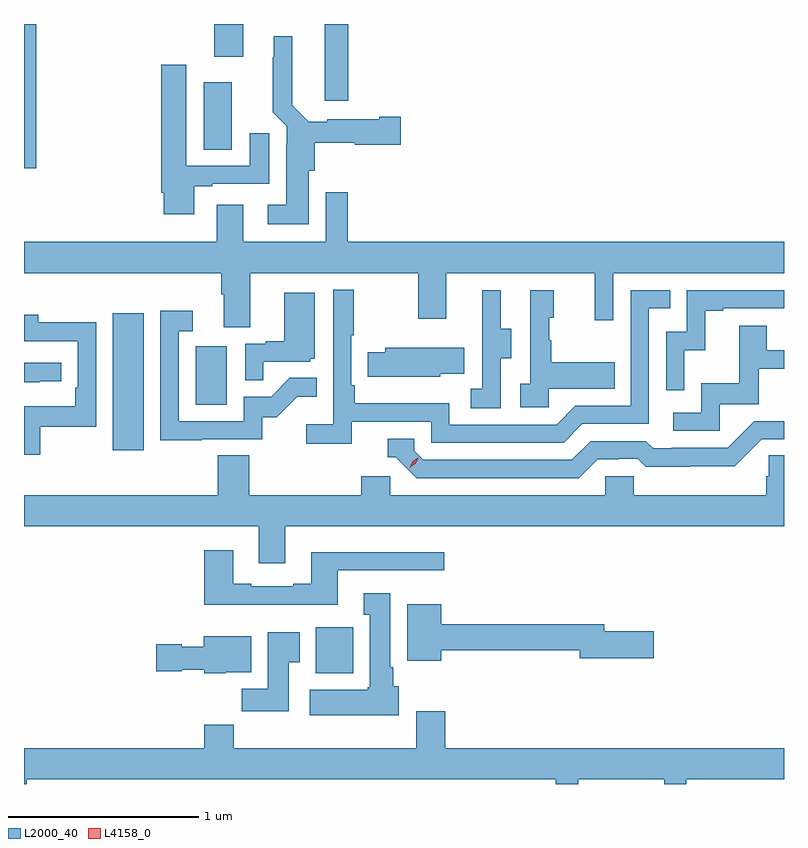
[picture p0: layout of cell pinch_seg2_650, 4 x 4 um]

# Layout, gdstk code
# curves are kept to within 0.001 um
import gdstk
lib = gdstk.Library(unit=1e-6, precision=1e-09)
def R(c, l, rs):  # rectangles x0, y0, x1, y1
    for r in rs: c.add(gdstk.rectangle(r[:2], r[2:], *l))
def P(c, l, *ps):  # polygons
    for p in ps: c.add(gdstk.Polygon(p, *l))
L2000_40 = (2000, 40)
L4158_0 = (4158, 0)

pinch_seg2_650 = lib.new_cell('pinch_seg2_650')
R(pinch_seg2_650, L2000_40, [(1042.853,588.254,1043.05,588.496), (1041.785,589.428,1041.946,590.149), (1042.22,589.668,1042.384,589.975), (1041.317,590.913,1041.382,591.671), (1042.262,591.01,1042.411,591.364), (1042.901,591.267,1043.024,591.671), (1042.319,591.498,1042.471,591.671)])
P(pinch_seg2_650, L2000_40, [(1042.816,590.898),(1042.847,590.898),(1042.847,591.047),(1043.058,591.047),(1043.058,591.035),(1043.299,591.035),(1043.299,591.182),(1043.186,591.182),(1043.186,591.169),(1042.914,591.169),(1042.914,591.157),(1042.815,591.157),(1042.728,591.244),(1042.729,591.607),(1042.631,591.607),(1042.631,591.497),(1042.627,591.497),(1042.627,591.206),(1042.701,591.132),(1042.701,591.038),(1042.697,591.038),(1042.697,590.719),(1042.599,590.719),(1042.599,590.618),(1042.816,590.618)],
  [(1042.213,590.817),(1042.309,590.817),(1042.309,590.829),(1042.609,590.829),(1042.609,591.097),(1042.505,591.097),(1042.505,590.925),(1042.171,590.925),(1042.171,591.457),(1042.04,591.457),(1042.04,590.782),(1042.052,590.782),(1042.052,590.67),(1042.213,590.67)],
  [(1042.507,590.36),(1043.392,590.36),(1043.392,590.121),(1043.539,590.121),(1043.539,590.36),(1044.32,590.36),(1044.32,590.112),(1044.417,590.112),(1044.417,590.36),(1045.317,590.36),(1045.317,590.524),(1043.021,590.524),(1043.021,590.785),(1042.905,590.785),(1042.905,590.524),(1042.471,590.524),(1042.471,590.719),(1042.331,590.719),(1042.331,590.524),(1041.317,590.524),(1041.317,590.36),(1042.355,590.36),(1042.355,590.248),(1042.367,590.248),(1042.367,590.074),(1042.507,590.074)],
  [(1043.042,589.578),(1043.46,589.578),(1043.46,589.467),(1044.157,589.467),(1044.256,589.566),(1044.606,589.566),(1044.606,590.175),(1044.719,590.175),(1044.719,590.271),(1044.51,590.271),(1044.51,589.662),(1044.219,589.662),(1044.12,589.563),(1043.556,589.563),(1043.556,589.675),(1043.057,589.675),(1043.057,589.771),(1043.04,589.771),(1043.04,590.032),(1043.053,590.032),(1043.053,590.272),(1042.944,590.272),(1042.944,589.564),(1042.803,589.564),(1042.803,589.462),(1043.042,589.462)],
  [(1044.792,589.955),(1044.902,589.955),(1044.902,590.163),(1044.997,590.163),(1044.997,590.175),(1045.317,590.175),(1045.317,590.271),(1044.804,590.271),(1044.804,590.052),(1044.696,590.052),(1044.696,589.743),(1044.792,589.743)],
  [(1044.078,589.751),(1044.425,589.751),(1044.425,589.891),(1044.091,589.891),(1044.091,590.006),(1044.081,590.006),(1044.081,590.124),(1044.106,590.124),(1044.106,590.269),(1043.982,590.269),(1043.982,589.778),(1043.93,589.778),(1043.93,589.653),(1044.078,589.653)],
  [(1043.826,589.912),(1043.881,589.912),(1043.881,590.067),(1043.827,590.067),(1043.827,590.269),(1043.728,590.269),(1043.728,590.055),(1043.73,590.055),(1043.73,589.751),(1043.667,589.751),(1043.667,589.648),(1043.826,589.648)],
  [(1042.577,589.893),(1042.824,589.893),(1042.824,589.908),(1042.846,589.908),(1042.846,590.257),(1042.688,590.257),(1042.688,590.002),(1042.589,590.002),(1042.589,589.989),(1042.482,589.989),(1042.482,589.795),(1042.577,589.795)],
  [(1042.253,589.485),(1042.572,589.485),(1042.572,589.602),(1042.648,589.602),(1042.755,589.709),(1042.859,589.709),(1042.859,589.808),(1042.715,589.808),(1042.617,589.71),(1042.473,589.71),(1042.473,589.581),(1042.131,589.581),(1042.131,590.055),(1042.204,590.055),(1042.204,590.161),(1042.035,590.161),(1042.035,589.48),(1042.253,589.48)],
  [(1041.403,589.551),(1041.696,589.551),(1041.696,590.102),(1041.391,590.102),(1041.391,590.14),(1041.317,590.14),(1041.317,590.001),(1041.6,590.001),(1041.6,589.756),(1041.587,589.756),(1041.587,589.66),(1041.317,589.66),(1041.317,589.404),(1041.403,589.404)],
  [(1044.978,589.671),(1045.183,589.671),(1045.183,589.857),(1045.317,589.857),(1045.317,589.953),(1045.225,589.953),(1045.225,590.083),(1045.081,590.083),(1045.081,589.78),(1044.882,589.78),(1044.882,589.626),(1044.735,589.626),(1044.735,589.53),(1044.978,589.53)],
  [(1043.508,589.829),(1043.633,589.829),(1043.633,589.966),(1043.219,589.966),(1043.219,589.944),(1043.125,589.944),(1043.125,589.815),(1043.236,589.815),(1043.236,589.814),(1043.508,589.814)],
  [(1041.401,589.791),(1041.514,589.791),(1041.514,589.887),(1041.317,589.887),(1041.317,589.786),(1041.401,589.786)],
  [(1044.337,589.38),(1044.444,589.38),(1044.444,589.383),(1044.547,589.383),(1044.589,589.341),(1044.822,589.341),(1044.822,589.343),(1045.058,589.343),(1045.2,589.485),(1045.317,589.485),(1045.317,589.581),(1045.161,589.581),(1045.02,589.44),(1044.727,589.44),(1044.727,589.437),(1044.628,589.437),(1044.589,589.476),(1044.3,589.476),(1044.201,589.377),(1043.418,589.377),(1043.37,589.425),(1043.37,589.488),(1043.231,589.488),(1043.231,589.392),(1043.274,589.392),(1043.385,589.281),(1044.238,589.281)],
  [(1042.693,589.028),(1045.317,589.028),(1045.317,589.4),(1045.237,589.4),(1045.237,589.29),(1045.223,589.29),(1045.223,589.192),(1044.525,589.192),(1044.525,589.29),(1044.375,589.29),(1044.375,589.192),(1043.244,589.192),(1043.244,589.29),(1043.093,589.29),(1043.093,589.192),(1042.502,589.192),(1042.502,589.4),(1042.337,589.4),(1042.337,589.192),(1041.317,589.192),(1041.317,589.028),(1042.553,589.028),(1042.553,588.834),(1042.693,588.834)],
  [(1042.969,588.795),(1043.53,588.795),(1043.53,588.892),(1042.829,588.892),(1042.829,588.724),(1042.733,588.724),(1042.733,588.711),(1042.513,588.711),(1042.513,588.724),(1042.417,588.724),(1042.417,588.901),(1042.265,588.901),(1042.265,588.614),(1042.969,588.614)],
  [(1043.29,588.186),(1043.26,588.186),(1043.26,588.286),(1043.245,588.286),(1043.245,588.676),(1043.105,588.676),(1043.105,588.563),(1043.138,588.563),(1043.138,588.18),(1043.125,588.18),(1043.125,588.166),(1042.821,588.166),(1042.821,588.032),(1043.29,588.032)],
  [(1043.512,588.376),(1044.242,588.376),(1044.242,588.334),(1044.631,588.334),(1044.631,588.476),(1044.37,588.476),(1044.37,588.512),(1043.512,588.512),(1043.512,588.616),(1043.333,588.616),(1043.333,588.32),(1043.512,588.32)],
  [(1042.711,588.313),(1042.768,588.313),(1042.768,588.469),(1042.601,588.469),(1042.601,588.172),(1042.462,588.172),(1042.462,588.054),(1042.711,588.054)],
  [(1042.38,588.26),(1042.513,588.26),(1042.513,588.448),(1042.262,588.448),(1042.262,588.394),(1042.146,588.394),(1042.146,588.407),(1042.014,588.407),(1042.014,588.265),(1042.146,588.265),(1042.146,588.272),(1042.266,588.272),(1042.266,588.254),(1042.38,588.254)],
  [(1041.332,587.696),(1044.115,587.696),(1044.115,587.671),(1044.233,587.671),(1044.233,587.696),(1044.686,587.696),(1044.686,587.671),(1044.803,587.671),(1044.803,587.696),(1045.317,587.696),(1045.317,587.86),(1043.534,587.86),(1043.534,588.055),(1043.381,588.055),(1043.381,587.86),(1042.421,587.86),(1042.421,587.984),(1042.265,587.984),(1042.265,587.86),(1041.317,587.86),(1041.317,587.671),(1041.332,587.671)])
P(pinch_seg2_650, L4158_0, [(1043.348,589.338),(1043.348,589.338),(1043.364,589.371),(1043.394,589.391),(1043.394,589.391),(1043.394,589.39),(1043.379,589.358),(1043.349,589.338)])

lib.write_gds('pinch_seg2_650.gds')
